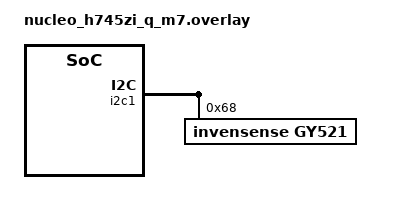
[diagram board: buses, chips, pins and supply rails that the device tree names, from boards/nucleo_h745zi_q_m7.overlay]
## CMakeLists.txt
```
# SPDX-License-Identifier: Apache-2.0

cmake_minimum_required(VERSION 3.20.0)
# set(ZEPHYR_TOOLCHAIN_VARIANT gnuarmemb)
#set(BOARD_FLASH_RUNNER jlink)

find_package(Zephyr REQUIRED HINTS $ENV{ZEPHYR_BASE})
project(blinky)

zephyr_include_directories(src)

target_sources(app PRIVATE src/main.c src/dot.c)
```

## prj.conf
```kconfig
CONFIG_GPIO=y
CONFIG_MAIN_STACK_SIZE=2048

CONFIG_DISPLAY=y
CONFIG_DISPLAY_LOG_LEVEL_ERR=y

CONFIG_LOG=y

CONFIG_LVGL=y
CONFIG_LVGL_USE_LABEL=y
CONFIG_LVGL_USE_CONT=y
CONFIG_LVGL_USE_BTN=y
CONFIG_LVGL_USE_THEME_MATERIAL=y
CONFIG_LVGL_USE_LINE=y

#MPU 6050 Settings
CONFIG_I2C=y
CONFIG_SENSOR=y
CONFIG_MPU6050=y
CONFIG_MPU6050_TRIGGER_NONE=y
CONFIG_CBPRINTF_FP_SUPPORT=y

CONFIG_NEWLIB_LIBC=y
CONFIG_NEWLIB_LIBC_FLOAT_PRINTF=y
# CONFIG_NEWLIB_LIBC = y
# CONFIG_NEWLIB_LIBC_NANO = n
```

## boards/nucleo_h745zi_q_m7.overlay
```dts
/*
 * Copyright (c) 2020, Nordic Semiconductor ASA
 *
 * SPDX-License-Identifier: Apache-2.0
 */

arduino_i2c: &i2c1 {
	gy521@68 {
		compatible = "invensense,gy521";
		reg = <0x68>;
	};
};
```

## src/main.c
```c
#include <device.h>
#include <drivers/display.h>
#include <drivers/sensor.h>
#include <lvgl.h>
#include <stdio.h>
#include <string.h>
#include <zephyr.h>
#include <dot.h>
#include <math.h>

#define LOG_LEVEL CONFIG_LOG_DEFAULT_LEVEL
#include <logging/log.h>
LOG_MODULE_REGISTER(app);

float roll = 0;
float pitch = 0;
void init_display()
{
	const struct device *display_dev;
	display_dev = device_get_binding(CONFIG_LVGL_DISPLAY_DEV_NAME);

	if (display_dev == NULL)
	{
		LOG_ERR("device not found.  Aborting test.");
		return;
	}
	display_blanking_off(display_dev);
}

const struct device *init_mpu6050(void)
{
	const char *const label = DT_LABEL(DT_INST(0, invensense_mpu6050));
	const struct device *mpu6050 = device_get_binding(label);

	if (!mpu6050)
	{
		printf("Failed to find sensor %s\n", label);
		return NULL;
	}
	return mpu6050;
}

static float process_roll(struct sensor_value *accel)
{
	double x = sensor_value_to_double(&accel[0]);
	double y = sensor_value_to_double(&accel[1]);
	double z = sensor_value_to_double(&accel[2]);
	roll = atan(y / sqrt((x * x) + (z * z)));
	roll = roll * (180.0 / 3.14);
	printf("roll = %f \n", roll);
	return roll;
}

static float process_pitch(struct sensor_value *accel)
{
	double x = sensor_value_to_double(&accel[0]);
	double y = sensor_value_to_double(&accel[1]);
	double z = sensor_value_to_double(&accel[2]);
	pitch = atan(x / sqrt((y * y) + (z * z)));
	pitch = pitch * (180.0 / 3.14);
	printf("pitch = %f \n", pitch);
	return pitch;
}

static int process_mpu6050(const struct device *dev)
{
	struct sensor_value accel[3];
	int rc = sensor_sample_fetch(dev);

	if (rc == 0)
	{
		rc = sensor_channel_get(dev, SENSOR_CHAN_ACCEL_XYZ,
								accel);
	}
	if (rc == 0)
	{
		printf("  accel %f %f %f m/s/s\n",
			   sensor_value_to_double(&accel[0]),
			   sensor_value_to_double(&accel[1]),
			   sensor_value_to_double(&accel[2]));
		process_roll(accel);
		process_pitch(accel);
	}
	else
	{
		printf("sample fetch/get failed: %d\n", rc);
	}

	return rc;
}

static lv_coord_t calculate_cord_x()
{
	lv_coord_t x = 64;
	if(roll > 64)
		x = 128;
	if(roll < -64)
		x = 0;
	if(roll < 64 && roll > -64)
		x = (lv_coord_t)roll + 64;
	return x;
}

static lv_coord_t calculate_cord_y()
{
	lv_coord_t y = 32;
	if(pitch > 32)
		y = 64;
	if(pitch < -32)
		y = 0;
	if(pitch < 32 && pitch > -32)
		y = (lv_coord_t)pitch + 32;
	return y;
}

void main(void)
{

	init_display();
	const struct device *mpu6050 = init_mpu6050();
	if (!mpu6050)
		return;

	lv_obj_t *dot = create_dot();
	reset_dot(dot);
	lv_task_handler();

	lv_coord_t x = 64;
	lv_coord_t y = 32;
	while (1)
	{
		move_dot_x(dot, x);
		move_dot_y(dot, y);
		lv_task_handler();
		k_sleep(K_MSEC(100));
		process_mpu6050(mpu6050);
		x = calculate_cord_x();
		y = calculate_cord_y();
	}
}
```

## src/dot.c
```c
#include "dot.h"

lv_obj_t *create_dot(void)
{
    /*Create style*/
    static lv_style_t style_line;
    lv_style_init(&style_line);
    lv_style_set_line_width(&style_line, LV_STATE_DEFAULT, 10);
    lv_style_set_line_color(&style_line, LV_STATE_DEFAULT, LV_COLOR_BLACK);
    lv_style_set_line_rounded(&style_line, LV_STATE_DEFAULT, true);

    static lv_point_t dot_points[] = {{0, 0}, {1, 0}, {1, 1}, {0, 1}, {0, 0}};
    lv_obj_t *dot = lv_line_create(lv_scr_act(), NULL);
    lv_line_set_points(dot, dot_points, 5); /*Set the points*/
    lv_obj_add_style(dot, LV_LINE_PART_MAIN, &style_line);
    lv_obj_align(dot, NULL, LV_ALIGN_CENTER, 0, 0);
    return dot;
}

void move_dot_x(lv_obj_t *dot, lv_coord_t x)
{
    lv_obj_set_x(dot, x);
}

void move_dot_y(lv_obj_t *dot, lv_coord_t y)
{
    lv_obj_set_y(dot, y);
}

void reset_dot(lv_obj_t *dot)
{
    lv_obj_set_pos(dot, 1, 1);
}
```

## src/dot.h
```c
#ifndef DOT_H
#define DOT_H

#include <device.h>
#include <drivers/display.h>
#include <lvgl.h>
#include <stdio.h>
#include <string.h>
#include <zephyr.h>

lv_obj_t *create_dot(void);
void move_dot_x(lv_obj_t *dot, lv_coord_t x);
void move_dot_y(lv_obj_t *dot, lv_coord_t y);
void reset_dot(lv_obj_t *dot);

#endif
```
